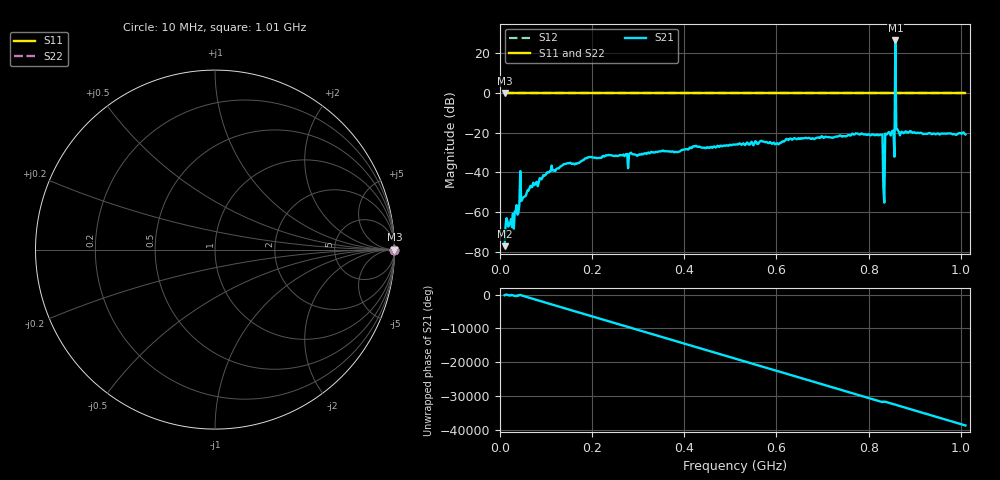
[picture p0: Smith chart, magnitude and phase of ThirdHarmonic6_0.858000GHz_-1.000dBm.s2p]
! 8/16/2025 4:22:55 AM
! C:\ANRITSUVNA\TEMP\TEMP.S2P
! CHANNEL.1
! TR.MEASUREMENT
! RAW.DATA
! RF.CORRECTION.OFF
! AVERAGING.OFF
! IF.BANDWIDTH: 5KHZ
! SWEEPTYPE:  FREQ.SWEEP(Linear)
! Reference Plane Port Info
! PORT:  PORT1  PORT2
! DISTANCE:  0  m  0  m
! TIME:  0  s  0  s
! PHASE.OFFSET:  0  deg.  0  deg.
! LOSS:  0  dB  0  dB
! REF.LOSS:  0  dB  0  dB
! REF.FREQ:  0  Hz  0  Hz
! Power Info
! POWER:  -20  dBm  -20  dBm
! EFF.POWER:  -20  dBm  -20  dBm
! SOURCE.ATTEN:  0  dB  0  dB
! TEST.ATTEN:  0  dB  0  dB
# GHZ S RI R 50.0
! FREQ.GHZ  S11RE  S11IM  S21RE  S21IM  S12RE  S12IM  S22RE  S22IM
!; PortSelection: Port_12
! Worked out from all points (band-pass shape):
!   501 points, 10 MHz to 1.01 GHz, reference 50 ohm
!   highest |S21| = 26.56 dB at 858 MHz (marker M1); lowest = -77.2 dB at 10 MHz (marker M2)
!   |S21| within 3 dB of the highest: 857.8977 MHz to 858.1344 MHz (236.7 kHz wide, 0.0276 % of centre)
!   lowest |S11| = 0.0 dB at 10 MHz (marker M3)
!   |S11| at or under -10 dB: nowhere
!   |S22| runs from 0.0 to 0.0 dB; largest |S21 - S12| = 22
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0.01  1 0  -0.000138 -5.9e-06  1 0  1 0
0.016  1 0  -6.39e-05 -0.000607  1 0  1 0
0.026  1 0  -0.000414 -5.16e-05  1 0  1 0
0.048  1 0  0.000336 0.00203  1 0  1 0
0.05  1 0  0.00228 -0.000413  1 0  1 0
0.108  1 0  -0.00761 0.00734  1 0  1 0
0.178  1 0  -0.0195 -0.00247  1 0  1 0
0.344  1 0  0.031 -0.0129  1 0  1 0
0.51  1 0  -0.0398 0.0305  1 0  1 0
0.678  1 0  -0.0578 -0.0439  1 0  1 0
0.826  1 0  0.0894 0.00758  1 0  1 0
0.83  1 0  -0.082 -0.0373  1 0  1 0
0.836  1 0  0.0765 -0.0567  1 0  1 0
0.84  1 0  -0.0888 0.023  1 0  1 0
0.844  1 0  0.1041 0.00068  1 0  1 0
0.85  1 0  -0.0556 0.0909  1 0  1 0
0.852  1 0  0.0904 0.0662  1 0  1 0
0.854  1 0  0.0713 -0.0857  1 0  1 0
0.858  1 0  -13.96 -16.06  1 0  1 0
0.862  1 0  0.1199 -0.0271  1 0  1 0
0.864  1 0  -0.0135 -0.1115  1 0  1 0
1.01  1 0  -0.0634 0.0645  1 0  1 0
